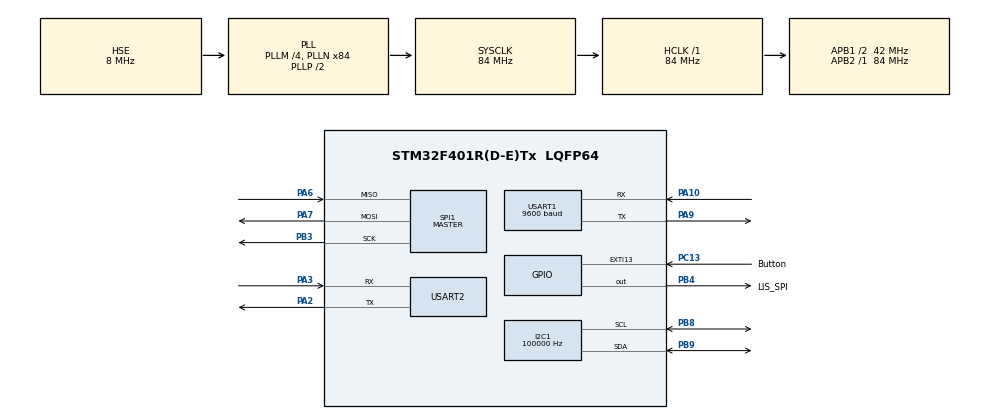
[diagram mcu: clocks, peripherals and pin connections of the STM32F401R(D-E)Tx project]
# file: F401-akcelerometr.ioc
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Mcu.Family=STM32F4
RCC.PLLSourceVirtual=RCC_PLLSOURCE_HSE
PA6.Mode=Full_Duplex_Master
RCC.CortexFreq_Value=84000000
PA7.Mode=Full_Duplex_Master
PA10.Mode=Asynchronous
SPI1.VirtualType=VM_MASTER
PC13-ANTI_TAMP.GPIO_Label=Button
USART1.BaudRate=9600
PH1\ -\ OSC_OUT.Mode=HSE-External-Oscillator
SPI1.CLKPhase=SPI_PHASE_2EDGE
RCC.APB1CLKDivider=RCC_HCLK_DIV2
RCC.SYSCLKSource=RCC_SYSCLKSOURCE_PLLCLK
ProjectManager.StackSize=0x400
PA3.Mode=Asynchronous
PA9.Mode=Asynchronous
PH0\ -\ OSC_IN.Mode=HSE-External-Oscillator
SPI1.CLKPolarity=SPI_POLARITY_HIGH
PH0\ -\ OSC_IN.Signal=RCC_OSC_IN
I2C1.ClockSpeed=100000
ProjectManager.TargetToolchain=STM32CubeIDE
SPI1.Direction=SPI_DIRECTION_2LINES
RCC.HCLKFreq_Value=84000000
PB9.Mode=I2C
RCC.APB2TimFreq_Value=84000000
PA9.Signal=USART1_TX
PB4.GPIO_PuPd=GPIO_NOPULL
RCC.LSE_VALUE=32768
RCC.AHBFreq_Value=84000000
NVIC.EXTI15_10_IRQn=true\:0\:0\:false\:false\:true\:true\:true
RCC.HSE_VALUE=8000000
PH1\ -\ OSC_OUT.Signal=RCC_OSC_OUT
PB3.Mode=Full_Duplex_Master
board=custom
PC13-ANTI_TAMP.Signal=GPXTI13
RCC.VCOOutputFreq_Value=168000000
PB4.GPIO_Speed=GPIO_SPEED_FREQ_HIGH
RCC.APB2Freq_Value=84000000
PB4.GPIO_Label=LIS_SPI
SPI1.Mode=SPI_MODE_MASTER
Mcu.Name=STM32F401R(D-E)Tx
PA2.Signal=USART2_TX
RCC.48MHZClocksFreq_Value=42000000
PB3.Signal=SPI1_SCK
RCC.SYSCLKFreq_VALUE=84000000
Mcu.Package=LQFP64
PB9.Signal=I2C1_SDA
PA6.Signal=SPI1_MISO
USART2.VirtualMode=VM_ASYNC
USART1.VirtualMode=VM_ASYNC
PA10.Signal=USART1_RX
ProjectManager.HeapSize=0x200
PB9.GPIO_PuPdOD=GPIO_NOPULL
PB8.GPIO_PuPdOD=GPIO_NOPULL
RCC.HSI_VALUE=16000000
NVIC.PriorityGroup=NVIC_PRIORITYGROUP_4
PB9.GPIO_Speed=GPIO_SPEED_FREQ_HIGH
RCC.PLLM=4
PB8.Mode=I2C
RCC.PLLN=84
RCC.APB1TimFreq_Value=84000000
PA2.Mode=Asynchronous
PB8.Signal=I2C1_SCL
NVIC.USART1_IRQn=true\:0\:0\:false\:false\:true\:true\:true
RCC.APB1Freq_Value=42000000
SPI1.BaudRatePrescaler=SPI_BAUDRATEPRESCALER_64
PB8.GPIO_Speed=GPIO_SPEED_FREQ_HIGH
PB4.PinState=GPIO_PIN_SET
PB4.Signal=GPIO_Output
PA3.Signal=USART2_RX
PA7.Signal=SPI1_MOSI

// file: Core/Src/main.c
/* USER CODE BEGIN Header */
/**
  ******************************************************************************
  * @file           : main.c
  * @brief          : Main program body
  ******************************************************************************
  * @attention
  *
  * <h2><center>&copy; Copyright (c) 2021 STMicroelectronics.
  * All rights reserved.</center></h2>
  *
  * This software component is licensed by ST under BSD 3-Clause license,
  * the "License"; You may not use this file except in compliance with the
  * License. You may obtain a copy of the License at:
  *                        opensource.org/licenses/BSD-3-Clause
  *
  ******************************************************************************
  */
/* USER CODE END Header */
#include "main.h"
#include "i2c.h"
#include "spi.h"
#include "usart.h"
#include "gpio.h"

/* USER CODE BEGIN Includes */
#include "lcd_i2c.h"
#include <stdbool.h>
#include <stdio.h>
#include "gps_neo6.h"
#include "stdio.h"
/* USER CODE END Includes */

/* USER CODE BEGIN PV */
SPI_HandleTypeDef hspi1;
int8_t data_rec[6];
int16_t x, y, z;
float xg, yg, zg;
uint8_t komunikat[40];//zwracany komunikat
uint16_t dl_kom;

uint8_t Message[64];
uint8_t MessageLength;

struct lcd_disp disp;

uint8_t counter = 1 ;//1 aklcelerometr, 2 lokalizajca, 3 predkosc
/* USER CODE END PV */

void SystemClock_Config(void);

/* USER CODE BEGIN 0 */
void adxl_write(uint8_t address, uint8_t value){
	uint8_t data[2];
	data[0] = address | 0x40;
	data[1] = value;
	HAL_GPIO_WritePin(GPIOB, LIS_SPI_Pin, GPIO_PIN_RESET);
	HAL_SPI_Transmit(&hspi1, data, 2, 100);
	HAL_GPIO_WritePin(GPIOB, LIS_SPI_Pin, GPIO_PIN_SET);
}

void adxl_read(uint8_t address){
	address |= 0x80;
	address |= 0x40;
	HAL_GPIO_WritePin(GPIOB, LIS_SPI_Pin, GPIO_PIN_RESET);
	HAL_SPI_Transmit(&hspi1, &address, 1, 100);
	HAL_SPI_Receive(&hspi1, data_rec, 6, 100);
	HAL_GPIO_WritePin(GPIOB, LIS_SPI_Pin, GPIO_PIN_SET);
}

void adxl_init(void){
	adxl_write(0x31, 0x01); // data_format range 4g
	adxl_write(0x2d, 0x08); // reset all bits
	adxl_write(0x2d, 0x08); // power_cntl measure and wake up 8 hz

}

/* USER CODE END 0 */

int main(void)
{

  /* MCU Configuration--------------------------------------------------------*/

  /* Reset of all peripherals, Initializes the Flash interface and the Systick. */
  HAL_Init();

  /* Configure the system clock */
  SystemClock_Config();

  /* Initialize all configured peripherals */
  MX_GPIO_Init();
  MX_USART2_UART_Init();
  MX_SPI1_Init();
  MX_I2C1_Init();
  MX_USART1_UART_Init();
  /* USER CODE BEGIN 2 */
  //docelowo inicjalizacja wyswietlacza
  disp.addr = (0x27 << 1);
  disp.addr = (0x27 << 1);
  disp.bl = true;
  lcd_init(&disp);
  sprintf((char *) disp.f_line, "INICJALIZACJA");
  sprintf((char *) disp.s_line, "AKCELEROMETR");
  lcd_display(&disp);
  HAL_Delay(1000);
  adxl_init();
  dl_kom = sprintf(komunikat, "START\n");
  HAL_UART_Transmit(&huart2, komunikat, dl_kom, 1000);

  NEO6_Init(&GpsState, &huart1);
  uint32_t Timer = HAL_GetTick();
  /* USER CODE END 2 */

  /* Infinite loop */
  while (1)
  {

    /* USER CODE BEGIN 3 */

    NEO6_Task(&GpsState);

    	  if((HAL_GetTick() - Timer) > 1000)
    	  {
    	//	  MessageLength = sprintf((char*)Message, "\033[2J\033[;H"); // Clear terminal and home cursor
    		//  HAL_UART_Transmit(&huart2, Message, MessageLength, 1000);

    		  if(NEO6_IsFix(&GpsState))
    		  {

    			  MessageLength = sprintf((char*)Message, "UTC Time: %02d:%02d:%02d\n\r", GpsState.Hour, GpsState.Minute, GpsState.Second);
    			  HAL_UART_Transmit(&huart2, Message, MessageLength, 1000);

    			  MessageLength = sprintf((char*)Message, "Date: %02d.%02d.20%02d\n\r", GpsState.Day, GpsState.Month, GpsState.Year);
    			  HAL_UART_Transmit(&huart2, Message, MessageLength, 1000);

    			  MessageLength = sprintf((char*)Message, "Latitude: %.2f %c\n\r", GpsState.Latitude, GpsState.LatitudeDirection);
    			  HAL_UART_Transmit(&huart2, Message, MessageLength, 1000);

    			  MessageLength = sprintf((char*)Message, "Longitude: %.2f %c\n\r", GpsState.Longitude, GpsState.LongitudeDirection);
    			  HAL_UART_Transmit(&huart2, Message, MessageLength, 1000);

    			  MessageLength = sprintf((char*)Message, "Altitude: %.2f m above sea level\n\r", GpsState.Altitude);
    			  HAL_UART_Transmit(&huart2, Message, MessageLength, 1000);

    			  MessageLength = sprintf((char*)Message, "Speed: %.2f knots, %f km/h\n\r", GpsState.SpeedKnots, GpsState.SpeedKilometers);
    			  HAL_UART_Transmit(&huart2, Message, MessageLength, 1000);

    			  MessageLength = sprintf((char*)Message, "Satelites: %d\n\r", GpsState.SatelitesNumber);
    			  HAL_UART_Transmit(&huart2, Message, MessageLength, 1000);

    			  MessageLength = sprintf((char*)Message, "Dilution of precision: %.2f\n\r", GpsState.Dop);
    			  HAL_UART_Transmit(&huart2, Message, MessageLength, 1000);

    			  MessageLength = sprintf((char*)Message, "Horizontal dilution of precision: %.2f\n\r", GpsState.Hdop);
    			  HAL_UART_Transmit(&huart2, Message, MessageLength, 1000);

    			  MessageLength = sprintf((char*)Message, "Vertical dilution of precision: %.2f\n\r", GpsState.Vdop);
    			  HAL_UART_Transmit(&huart2, Message, MessageLength, 1000);

    			  if(counter == 2){
						//HAL_UART_Transmit(&huart2, komunikat, dl_kom, 1000);
						sprintf((char *) disp.f_line, "Latitud:%.2f%c", GpsState.Latitude, GpsState.LatitudeDirection);
						sprintf((char *) disp.s_line, "Longitu:%.2f%c", GpsState.Longitude, GpsState.LongitudeDirection);
						lcd_display(&disp);
    			  }

    			  if(counter == 3){
						//HAL_UART_Transmit(&huart2, komunikat, dl_kom, 1000);
						sprintf((char *) disp.f_line, "Speed: %.1f km/h", GpsState.SpeedKilometers);
						sprintf((char *) disp.s_line, "TIME:%02d:%02d:%02d", GpsState.Hour, GpsState.Minute, GpsState.Second);
						lcd_display(&disp);
					}

    			  if(counter == 1){
    			  adxl_read(0x32);
    			  	x = (( data_rec[1] << 8)  | data_rec[0]);
    			  	y = (( data_rec[3] << 8 ) | data_rec[2]);
    			  	z = (( data_rec[5] << 8 ) | data_rec[4]);

    			  	//convert to 'g'
    			  	xg = x * .0078;
    			  	yg = y * .0078;
    			  	zg = z * .0078;

    			  	//display
    			  	dl_kom = sprintf(komunikat, "xg: %.3f, yg: %.3f, zg: %.3f \n", xg, yg, zg);
				    HAL_UART_Transmit(&huart2, komunikat, dl_kom, 1000);
				    sprintf((char *) disp.f_line, "x:%.2f", xg);
				    sprintf((char *) disp.s_line, "y:%.2f,z:%.2f", yg, zg);
				    lcd_display(&disp);
    			  }

    		  }
    		  else
    		  {

    			  MessageLength = sprintf((char*)Message, "No Fix\n\r");
    			  HAL_UART_Transmit(&huart2, Message, MessageLength, 1000);

    			  adxl_read(0x32);
    			  	x = (( data_rec[1] << 8)  | data_rec[0]);
    			  	y = (( data_rec[3] << 8 ) | data_rec[2]);
    			  	z = (( data_rec[5] << 8 ) | data_rec[4]);

    			  	//convert to 'g'
    			  	xg = x * .0078;
    			  	yg = y * .0078;
    			  	zg = z * .0078;

    			  	//display
    			  	if(counter == 1){
    			  	dl_kom = sprintf(komunikat, "xg: %.3f, yg: %.3f, zg: %.3f \n", xg, yg, zg);
    			      HAL_UART_Transmit(&huart2, komunikat, dl_kom, 1000);
    			      sprintf((char *) disp.f_line, "x:%.2f", xg);
    			      sprintf((char *) disp.s_line, "y:%.2f,z:%.2f", yg, zg);
    			      lcd_display(&disp);
    			  }
    			  	if(counter == 2){
    			  	    			  	dl_kom = sprintf(komunikat, "xg: %.3f, yg: %.3f, zg: %.3f \n", xg, yg, zg);
    			  	    			      HAL_UART_Transmit(&huart2, komunikat, dl_kom, 1000);
    			  	    			      sprintf((char *) disp.f_line, "NO FIX");
    			  	    			      sprintf((char *) disp.s_line, "NO LOCATION ");
    			  	    			      lcd_display(&disp);
    			  	    			  }
    			  	if(counter == 3){
    			  	    			  	dl_kom = sprintf(komunikat, "xg: %.3f, yg: %.3f, zg: %.3f \n", xg, yg, zg);
    			  	    			      HAL_UART_Transmit(&huart2, komunikat, dl_kom, 1000);
    			  	    			      sprintf((char *) disp.f_line, "NO FIX");
    			  	    			      sprintf((char *) disp.s_line, "NO SPEED/TIME");
    			  	    			      lcd_display(&disp);
    			  	    			  }

    		  }

    		  Timer = HAL_GetTick();
    	  }

  }
  /* USER CODE END 3 */
}

void SystemClock_Config(void)
{
  RCC_OscInitTypeDef RCC_OscInitStruct = {0};
  RCC_ClkInitTypeDef RCC_ClkInitStruct = {0};

  /** Configure the main internal regulator output voltage
  */
  __HAL_RCC_PWR_CLK_ENABLE();
  __HAL_PWR_VOLTAGESCALING_CONFIG(PWR_REGULATOR_VOLTAGE_SCALE2);
  /** Initializes the RCC Oscillators according to the specified parameters
  * in the RCC_OscInitTypeDef structure.
  */
  RCC_OscInitStruct.OscillatorType = RCC_OSCILLATORTYPE_HSE;
  RCC_OscInitStruct.HSEState = RCC_HSE_ON;
  RCC_OscInitStruct.PLL.PLLState = RCC_PLL_ON;
  RCC_OscInitStruct.PLL.PLLSource = RCC_PLLSOURCE_HSE;
  RCC_OscInitStruct.PLL.PLLM = 4;
  RCC_OscInitStruct.PLL.PLLN = 84;
  RCC_OscInitStruct.PLL.PLLP = RCC_PLLP_DIV2;
  RCC_OscInitStruct.PLL.PLLQ = 4;
  if (HAL_RCC_OscConfig(&RCC_OscInitStruct) != HAL_OK)
  {
    Error_Handler();
  }
  /** Initializes the CPU, AHB and APB buses clocks
  */
  RCC_ClkInitStruct.ClockType = RCC_CLOCKTYPE_HCLK|RCC_CLOCKTYPE_SYSCLK
                              |RCC_CLOCKTYPE_PCLK1|RCC_CLOCKTYPE_PCLK2;
  RCC_ClkInitStruct.SYSCLKSource = RCC_SYSCLKSOURCE_PLLCLK;
  RCC_ClkInitStruct.AHBCLKDivider = RCC_SYSCLK_DIV1;
  RCC_ClkInitStruct.APB1CLKDivider = RCC_HCLK_DIV2;
  RCC_ClkInitStruct.APB2CLKDivider = RCC_HCLK_DIV1;

  if (HAL_RCC_ClockConfig(&RCC_ClkInitStruct, FLASH_LATENCY_2) != HAL_OK)
  {
    Error_Handler();
  }
}

/* USER CODE BEGIN 4 */
void HAL_UART_RxCpltCallback(UART_HandleTypeDef *huart)
{
	if(huart == GpsState.neo6_huart)
	{
		NEO6_ReceiveUartChar(&GpsState);
	}
}

void HAL_GPIO_EXTI_Callback(uint16_t GPIO_Pin){
	if(GPIO_Pin == Button_Pin){
		//HAL_GPIO_TogglePin(LED_GPIO_Port, LED_Pin);
		counter++;
		if(counter > 3)
				counter = counter / 3;
		dl_kom = sprintf(komunikat, "%d", counter);
		HAL_UART_Transmit(&huart2, komunikat, dl_kom, 1000);
	}
}
/* USER CODE END 4 */

void Error_Handler(void)
{
  __disable_irq();
  while (1)
  {
  }
}

/************************ (C) COPYRIGHT STMicroelectronics *****END OF FILE****/
